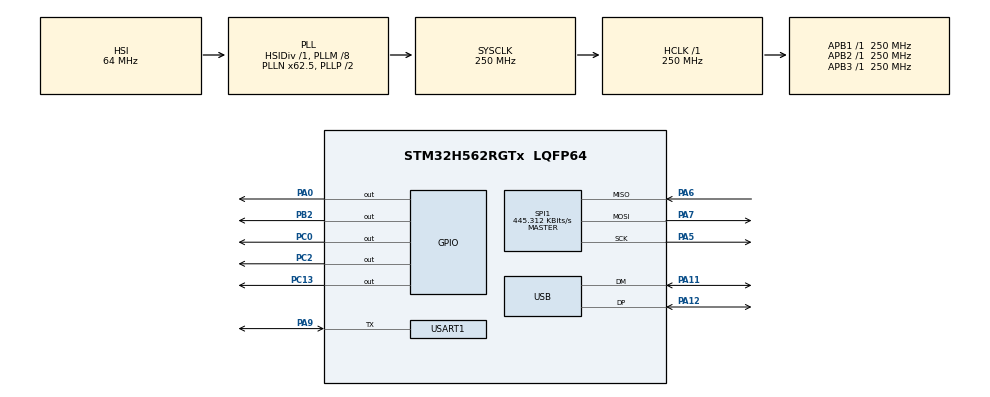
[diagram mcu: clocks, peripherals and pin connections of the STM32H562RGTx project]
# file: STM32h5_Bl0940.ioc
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BOOTPATH.BootPathName=LEGACY
BOOTPATH.UserSelectedBootPath=LEGACY
CORTEX_M33_NS.userName=CORTEX_M33
GPDMA1.LINKALLOCATEDPORT_GPDMACH4=DMA_LINK_ALLOCATED_PORT1
GPDMA1.LINKALLOCATEDPORT_GPDMACH5=DMA_LINK_ALLOCATED_PORT1
GPDMA1.PRIORITY_LL_GPDMACH4=DMA_LOW_PRIORITY_HIGH_WEIGHT
GPDMA1.PRIORITY_LL_GPDMACH5=DMA_LOW_PRIORITY_HIGH_WEIGHT
Linkedlist.MDMA_Channel0.GP_SW.0.BlkHWRequest=DMA_BREQ_SINGLE_BURST
Linkedlist.MDMA_Channel0.GP_SW.0.DATAEXCHANGEDESRCBYTE=NONE
Linkedlist.MDMA_Channel0.GP_SW.0.DATAEXCHANGEDESTBYTE=NONE
Linkedlist.MDMA_Channel0.GP_SW.0.DATAEXCHANGEDESTHALFWORD=NONE
Linkedlist.MDMA_Channel0.GP_SW.0.DataAlignment=DMA_DATA_RIGHTALIGN_ZEROPADDED
Linkedlist.MDMA_Channel0.GP_SW.0.DataHandling=ENABLE
Linkedlist.MDMA_Channel0.GP_SW.0.DataSize=0
Linkedlist.MDMA_Channel0.GP_SW.0.DestBurstLength=1
Linkedlist.MDMA_Channel0.GP_SW.0.DestDataWidth=DMA_DEST_DATAWIDTH_BYTE
Linkedlist.MDMA_Channel0.GP_SW.0.DestInc=DMA_DINC_FIXED
Linkedlist.MDMA_Channel0.GP_SW.0.Direction=DMA_MEMORY_TO_PERIPH
Linkedlist.MDMA_Channel0.GP_SW.0.DstAddress=0
Linkedlist.MDMA_Channel0.GP_SW.0.Instance=MDMA_Channel0
Linkedlist.MDMA_Channel0.GP_SW.0.LL_MASTERDMA=GPDMA1
Linkedlist.MDMA_Channel0.GP_SW.0.LL_NAME=Queue_tx
Linkedlist.MDMA_Channel0.GP_SW.0.LL_TYPE=LINEAR
Linkedlist.MDMA_Channel0.GP_SW.0.Mode=DMA_NORMAL
Linkedlist.MDMA_Channel0.GP_SW.0.NODE_NAME=Node_tx
Linkedlist.MDMA_Channel0.GP_SW.0.Requestforcodegen=GPDMA1_REQUEST_SPI1_TX
Linkedlist.MDMA_Channel0.GP_SW.0.SrcAddress=0
Linkedlist.MDMA_Channel0.GP_SW.0.SrcBurstLength=1
Linkedlist.MDMA_Channel0.GP_SW.0.SrcDataWidth=DMA_SRC_DATAWIDTH_BYTE
Linkedlist.MDMA_Channel0.GP_SW.0.SrcInc=DMA_SINC_INCREMENTED
Linkedlist.MDMA_Channel0.GP_SW.0.TransferAllocatedPortSrc=DMA_SRC_ALLOCATED_PORT1
Linkedlist.MDMA_Channel0.GP_SW.0.TransferEventMode=DMA_TCEM_BLOCK_TRANSFER
Linkedlist.MDMA_Channel0.GP_SW.0.TriggerPolarity=DMA_TRIG_POLARITY_MASKED
Linkedlist.MDMA_Channel0.Request0=GP_SW
Linkedlist.MDMA_Channel0.RequestsNb=1
Linkedlist.MDMA_Channel1.GP_SW.0.BlkHWRequest=DMA_BREQ_SINGLE_BURST
Linkedlist.MDMA_Channel1.GP_SW.0.DATAEXCHANGEDESRCBYTE=NONE
Linkedlist.MDMA_Channel1.GP_SW.0.DATAEXCHANGEDESTBYTE=NONE
Linkedlist.MDMA_Channel1.GP_SW.0.DATAEXCHANGEDESTHALFWORD=NONE
Linkedlist.MDMA_Channel1.GP_SW.0.DataAlignment=DMA_DATA_RIGHTALIGN_ZEROPADDED
Linkedlist.MDMA_Channel1.GP_SW.0.DataHandling=ENABLE
Linkedlist.MDMA_Channel1.GP_SW.0.DataSize=0
Linkedlist.MDMA_Channel1.GP_SW.0.DestBurstLength=1
Linkedlist.MDMA_Channel1.GP_SW.0.DestDataWidth=DMA_DEST_DATAWIDTH_BYTE
Linkedlist.MDMA_Channel1.GP_SW.0.DestInc=DMA_DINC_INCREMENTED
Linkedlist.MDMA_Channel1.GP_SW.0.Direction=DMA_PERIPH_TO_MEMORY
Linkedlist.MDMA_Channel1.GP_SW.0.DstAddress=0
Linkedlist.MDMA_Channel1.GP_SW.0.Instance=MDMA_Channel1
Linkedlist.MDMA_Channel1.GP_SW.0.LL_MASTERDMA=GPDMA1
Linkedlist.MDMA_Channel1.GP_SW.0.LL_NAME=Queue_rx
Linkedlist.MDMA_Channel1.GP_SW.0.LL_TYPE=LINEAR
Linkedlist.MDMA_Channel1.GP_SW.0.Mode=DMA_NORMAL
Linkedlist.MDMA_Channel1.GP_SW.0.NODE_NAME=Node_rx
Linkedlist.MDMA_Channel1.GP_SW.0.Requestforcodegen=GPDMA1_REQUEST_SPI1_RX
Linkedlist.MDMA_Channel1.GP_SW.0.SrcAddress=0
Linkedlist.MDMA_Channel1.GP_SW.0.SrcBurstLength=1
Linkedlist.MDMA_Channel1.GP_SW.0.SrcDataWidth=DMA_SRC_DATAWIDTH_BYTE
Linkedlist.MDMA_Channel1.GP_SW.0.SrcInc=DMA_SINC_FIXED
Linkedlist.MDMA_Channel1.GP_SW.0.TransferAllocatedPortSrc=DMA_SRC_ALLOCATED_PORT0
Linkedlist.MDMA_Channel1.GP_SW.0.TransferEventMode=DMA_TCEM_BLOCK_TRANSFER
Linkedlist.MDMA_Channel1.GP_SW.0.TriggerPolarity=DMA_TRIG_POLARITY_MASKED
Linkedlist.MDMA_Channel1.Request0=GP_SW
Linkedlist.MDMA_Channel1.RequestsNb=1
Linkedlist.RequestSet0=MDMA_Channel0
Linkedlist.RequestSet1=MDMA_Channel1
Linkedlist.RequestSetsNb=2
Mcu.Family=STM32H5
Mcu.Name=STM32H562RGTx
Mcu.Package=LQFP64
NVIC.GPDMA1_Channel4_IRQn=true\:0\:0\:false\:false\:true\:false\:true\:true\:true
NVIC.GPDMA1_Channel5_IRQn=true\:0\:0\:false\:false\:true\:false\:true\:true\:true
NVIC.PriorityGroup=NVIC_PRIORITYGROUP_4
NVIC.SPI1_IRQn=true\:0\:0\:false\:false\:true\:false\:true\:true\:true
NVIC.TIM1_UP_IRQn=true\:0\:0\:false\:false\:true\:false\:true\:true\:true
NVIC.TIM2_IRQn=true\:15\:0\:false\:false\:true\:false\:false\:true\:true
NVIC.TimeBase=TIM2_IRQn
NVIC.TimeBaseIP=TIM2
NVIC.USB_DRD_FS_IRQn=true\:0\:0\:false\:false\:true\:false\:true\:true\:true
PA0.Signal=GPIO_Output
PA11.Mode=Device
PA11.Signal=USB_DM
PA12.Mode=Device
PA12.Signal=USB_DP
PA5.Mode=Full_Duplex_Master
PA5.Signal=SPI1_SCK
PA6.Mode=Full_Duplex_Master
PA6.Signal=SPI1_MISO
PA7.Mode=Full_Duplex_Master
PA7.Signal=SPI1_MOSI
PA9.Mode=Half_duplex(single_wire_mode)
PA9.Signal=USART1_TX
PB2.Signal=GPIO_Output
PC0.Signal=GPIO_Output
PC13.Signal=GPIO_Output
PC14-OSC32_IN(OSC32_IN).Mode=LSE-External-Oscillator
PC14-OSC32_IN(OSC32_IN).Signal=RCC_OSC32_IN
PC15-OSC32_OUT(OSC32_OUT).Mode=LSE-External-Oscillator
PC15-OSC32_OUT(OSC32_OUT).Signal=RCC_OSC32_OUT
PC2.Signal=GPIO_Output
PH0-OSC_IN(PH0).Mode=HSE-DIG-External-Clock-Source
PH0-OSC_IN(PH0).Signal=RCC_OSC_IN
ProjectManager.HeapSize=0x800
ProjectManager.StackSize=0x800
ProjectManager.TargetToolchain=STM32CubeIDE
RCC.ADCFreq_Value=250000000
RCC.AHBFreq_Value=250000000
RCC.APB1Freq_Value=250000000
RCC.APB1TimFreq_Value=250000000
RCC.APB2Freq_Value=250000000
RCC.APB2TimFreq_Value=250000000
RCC.APB3Freq_Value=250000000
RCC.CKPERSourceSelection=RCC_CLKPSOURCE_HSE
RCC.CSI_VALUE=4000000
RCC.CortexFreq_Value=250000000
RCC.EPOD_VALUE=8000000
RCC.HCLKFreq_Value=250000000
RCC.HSE_VALUE=8000000
RCC.HSI48_VALUE=48000000
RCC.HSI_VALUE=64000000
RCC.LSIRC_VALUE=32000
RCC.PLL2FRACN=3072
RCC.PLL2N=21
RCC.PLL2P=3
RCC.PLL2Source=RCC_PLL2_SOURCE_HSE
RCC.PLL3Source=RCC_PLL3_SOURCE_HSE
RCC.PLLFRACN=4096
RCC.PLLN=62
RCC.PLLSourceVirtual=RCC_PLL1_SOURCE_HSE
RCC.RTCClockSelection=RCC_RTCCLKSOURCE_LSE
RCC.SPI1CLockSelection=RCC_SPI1CLKSOURCE_PLL2P
RCC.SYSCLKFreq_VALUE=250000000
RCC.SYSCLKSource=RCC_SYSCLKSOURCE_PLLCLK
RCC.USBFreq_Value=48000000
RCC.VCOOutputFreq_Value=500000000
RTC.Date=23
RTC.Hours=12
RTC.Minutes=14
RTC.Month=RTC_MONTH_JULY
SPI1.BaudRatePrescaler=SPI_BAUDRATEPRESCALER_128
SPI1.CLKPhase=SPI_PHASE_2EDGE
SPI1.CalculateBaudRate=445.312 KBits/s
SPI1.DataSize=SPI_DATASIZE_8BIT
SPI1.Direction=SPI_DIRECTION_2LINES
SPI1.Mode=SPI_MODE_MASTER
SPI1.VirtualType=VM_MASTER
STMicroelectronics.X-CUBE-AI.10.2.0.ActivationBufferSizeList=46552
STMicroelectronics.X-CUBE-AI.10.2.0.ActivationBuffers=pool0
STMicroelectronics.X-CUBE-AI.10.2.0.ActivationNames=pool0
STMicroelectronics.X-CUBE-AI.10.2.0.ActivationSizes=AI_NETWORK_DATA_ACTIVATION_1_SIZE
STMicroelectronics.X-CUBE-AI.10.2.0.ApplicationCcDeviceJjApplication=Validation
STMicroelectronics.X-CUBE-AI.10.2.0.HeapSize=0x800
STMicroelectronics.X-CUBE-AI.10.2.0.InternalRamActivationBufferMaxSize=AI_NETWORK_DATA_ACTIVATIONS_SIZE
STMicroelectronics.X-CUBE-AI.10.2.0.LatestDirectoryUsed-3102e91abf54e698ee64e30167e4e4b8705b4380b9673fabcb875895c781df02=C\:\\Users\\Acer\\Downloads
STMicroelectronics.X-CUBE-AI.10.2.0.MaximumNumberOfInputLayer=1
STMicroelectronics.X-CUBE-AI.10.2.0.MaximumNumberOfOutputLayer=1
STMicroelectronics.X-CUBE-AI.10.2.0.MaximumSizeOfInputLayer=1
STMicroelectronics.X-CUBE-AI.10.2.0.MaximumSizeOfOutputLayer=1
STMicroelectronics.X-CUBE-AI.10.2.0.ModelActualCompression-3102e91abf54e698ee64e30167e4e4b8705b4380b9673fabcb875895c781df02=0.0
STMicroelectronics.X-CUBE-AI.10.2.0.ModelCompression-3102e91abf54e698ee64e30167e4e4b8705b4380b9673fabcb875895c781df02=None
STMicroelectronics.X-CUBE-AI.10.2.0.ModelFlashOccupation-3102e91abf54e698ee64e30167e4e4b8705b4380b9673fabcb875895c781df02=277550
STMicroelectronics.X-CUBE-AI.10.2.0.ModelHashList=3102e91abf54e698ee64e30167e4e4b8705b4380b9673fabcb875895c781df02
STMicroelectronics.X-CUBE-AI.10.2.0.ModelKind-3102e91abf54e698ee64e30167e4e4b8705b4380b9673fabcb875895c781df02=TFLITE
STMicroelectronics.X-CUBE-AI.10.2.0.ModelMacc-3102e91abf54e698ee64e30167e4e4b8705b4380b9673fabcb875895c781df02=27574916
STMicroelectronics.X-CUBE-AI.10.2.0.ModelName-3102e91abf54e698ee64e30167e4e4b8705b4380b9673fabcb875895c781df02=network
STMicroelectronics.X-CUBE-AI.10.2.0.ModelNameList=network
STMicroelectronics.X-CUBE-AI.10.2.0.ModelRamOccupation-3102e91abf54e698ee64e30167e4e4b8705b4380b9673fabcb875895c781df02=46552
STMicroelectronics.X-CUBE-AI.10.2.0.ModelStructureFile-3102e91abf54e698ee64e30167e4e4b8705b4380b9673fabcb875895c781df02=C\:\\Users\\Acer\\Downloads\\optimizemoi_int8.tflite
STMicroelectronics.X-CUBE-AI.10.2.0.ModelType-3102e91abf54e698ee64e30167e4e4b8705b4380b9673fabcb875895c781df02=STM32Cube.AI MCU runtime
STMicroelectronics.X-CUBE-AI.10.2.0.ReadyForCodeGeneration=true
STMicroelectronics.X-CUBE-AI.10.2.0.StackSize=0x800
STMicroelectronics.X-CUBE-AI.10.2.0.WorkingBufferStartAddrList=0xFFFFFFFF
STMicroelectronics.X-CUBE-AI.10.2.0.XAaCUBEAaAICcArtificialOoIntelligenceJjCore=true
STMicroelectronics.X-CUBE-AI.10.2.0.copyWeightToRam=false
STMicroelectronics.X-CUBE-AI.10.2.0.copyWeightToRam-3102e91abf54e698ee64e30167e4e4b8705b4380b9673fabcb875895c781df02=false
STMicroelectronics.X-CUBE-AI.10.2.0.customLayerConfigEnabled=false
STMicroelectronics.X-CUBE-AI.10.2.0.customLayerConfigEnabled-3102e91abf54e698ee64e30167e4e4b8705b4380b9673fabcb875895c781df02=false
STMicroelectronics.X-CUBE-AI.10.2.0.noOnnxIoTranspose=false
STMicroelectronics.X-CUBE-AI.10.2.0.noOnnxIoTranspose-3102e91abf54e698ee64e30167e4e4b8705b4380b9673fabcb875895c781df02=false
STMicroelectronics.X-CUBE-AI.10.2.0.useInputAllocation=true
STMicroelectronics.X-CUBE-AI.10.2.0.useInputAllocation-3102e91abf54e698ee64e30167e4e4b8705b4380b9673fabcb875895c781df02=true
STMicroelectronics.X-CUBE-AI.10.2.0.useOutputAllocation=true
STMicroelectronics.X-CUBE-AI.10.2.0.useOutputAllocation-3102e91abf54e698ee64e30167e4e4b8705b4380b9673fabcb875895c781df02=true
TIM1.PeriodNoDither=999
TIM1.Prescaler=249
USART1.VirtualMode-Half_duplex(single_wire_mode)=VM_ASYNC
USB.VirtualMode=Device_Only
USBX.Core_System=1
USBX.USBD_CDCACM_EPIN_ADDR=2
USBX.USBD_CDCACM_EPOUT_ADDR=3
USBX.USBX_DEVICE_SYS_SIZE=10*1024
USBX.UX_DEVICE_APP_MEM_POOL_SIZE=15*1024
USBX.UX_DEVICE_CDC_ACM=1
USBX.UX_Device_Controller=1
USBX.UX_Device_CoreStack=1
VP_BOOTPATH_VS_BOOTPATH.Mode=BP_Activate
VP_CORTEX_M33_NS_VS_Hclk.Mode=Hclk_Mode
VP_GPDMA1_VS_GPDMACH4.Mode=LINKEDLIST_GPDMACH4
VP_GPDMA1_VS_GPDMACH5.Mode=LINKEDLIST_GPDMACH5
VP_ICACHE_VS_ICACHE.Mode=DirectMappedCache
VP_MEMORYMAP_VS_MEMORYMAP.Mode=CurAppReg
VP_PWR_VS_LPOM.Mode=PowerOptimisation
VP_PWR_VS_SECSignals.Mode=Security/Privilege
VP_RCC_USB.Mode=CRS SYNC Source USB
VP_RTC_VS_RTC_Activate.Mode=RTC_Enabled
VP_RTC_VS_RTC_Calendar.Mode=RTC_Calendar
VP_STMicroelectronics.X-CUBE-AI_VS_ArtificialOoIntelligenceJjXAaCUBEAaAI_10.2.0.Mode=ArtificialOoIntelligenceJjXAaCUBEAaAI
VP_STMicroelectronics.X-CUBE-AI_VS_DeviceJjApplication_10.2.0.Mode=DeviceJjApplication
VP_SYS_VS_tim2.Mode=TIM2
VP_THREADX_VS_RTOSJjThreadXJjCoreJjDefault.Mode=Core_Default
VP_TIM1_VS_ClockSourceINT.Mode=Internal
VP_USBX_Core_System.Mode=Core_System
VP_USBX_UX\ Device\ CDC\ ACM\ Class_FS.Mode=UX_Device_class_CDC_ACM_FS
VP_USBX_UX\ Device\ Controller_FS.Mode=UX_Device_Controller_FS
VP_USBX_UX\ Device\ CoreStack_FS.Mode=UX_Device_CoreStack_FS
board=custom

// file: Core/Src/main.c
/* USER CODE BEGIN Header */
/**
  ******************************************************************************
  * @file           : main.c
  * @brief          : Main program body
  ******************************************************************************
  * @attention
  *
  * Copyright (c) 2025 STMicroelectronics.
  * All rights reserved.
  *
  * This software is licensed under terms that can be found in the LICENSE file
  * in the root directory of this software component.
  * If no LICENSE file comes with this software, it is provided AS-IS.
  *
  ******************************************************************************
  */
/* USER CODE END Header */
#include "app_threadx.h"
#include "main.h"
#include "app_x-cube-ai.h"

/* USER CODE BEGIN Includes */
#include "linked_list.h"
#include "bl0940_driver.h"
#include <string.h>
#include <stdio.h>
#include <stdint.h>
/* USER CODE END Includes */

DMA_HandleTypeDef handle_GPDMA1_Channel5;
DMA_HandleTypeDef handle_GPDMA1_Channel4;

RTC_HandleTypeDef hrtc;

SPI_HandleTypeDef hspi1;

TIM_HandleTypeDef htim1;

UART_HandleTypeDef huart1;

PCD_HandleTypeDef hpcd_USB_DRD_FS;

void SystemClock_Config(void);
static void MX_GPIO_Init(void);
static void MX_GPDMA1_Init(void);
static void MX_SPI1_Init(void);
static void MX_USART1_UART_Init(void);
static void MX_ICACHE_Init(void);
static void MX_TIM1_Init(void);
static void MX_RTC_Init(void);

int main(void)
{

  /* MCU Configuration--------------------------------------------------------*/

  /* Reset of all peripherals, Initializes the Flash interface and the Systick. */
  HAL_Init();

  /* Configure the system clock */
  SystemClock_Config();

  /* Initialize all configured peripherals */
  MX_GPIO_Init();
  MX_GPDMA1_Init();
  MX_SPI1_Init();
  MX_USART1_UART_Init();
  MX_ICACHE_Init();
  MX_TIM1_Init();
  MX_RTC_Init();
  /* USER CODE BEGIN 2 */
  MX_Queue_tx_Config();
  HAL_DMAEx_List_LinkQ(&handle_GPDMA1_Channel5, &Queue_tx);
  __HAL_LINKDMA(&hspi1, hdmatx, handle_GPDMA1_Channel5);
  MX_Queue_rx_Config();
  HAL_DMAEx_List_LinkQ(&handle_GPDMA1_Channel4, &Queue_rx);
  __HAL_LINKDMA(&hspi1, hdmarx, handle_GPDMA1_Channel4);
  BL0940_Init();

//  int direction = BL0940_CheckSensorDirection();
//
//  while (direction == -1)
//  {
//      HAL_GPIO_TogglePin(GPIOB, GPIO_PIN_2);
//      HAL_Delay(2000);
//      direction = BL0940_CheckSensorDirection();
//  }
//  HAL_GPIO_WritePin(GPIOB, GPIO_PIN_2, GPIO_PIN_RESET);  // Tắt LED
  /* USER CODE END 2 */

  MX_ThreadX_Init();

  /* We should never get here as control is now taken by the scheduler */

  /* Infinite loop */
  while (1)
  {

  }
}

void SystemClock_Config(void)
{
  RCC_OscInitTypeDef RCC_OscInitStruct = {0};
  RCC_ClkInitTypeDef RCC_ClkInitStruct = {0};
  RCC_CRSInitTypeDef RCC_CRSInitStruct = {0};

  /** Configure the main internal regulator output voltage
  */
  __HAL_PWR_VOLTAGESCALING_CONFIG(PWR_REGULATOR_VOLTAGE_SCALE0);

  while(!__HAL_PWR_GET_FLAG(PWR_FLAG_VOSRDY)) {}

  /** Initializes the RCC Oscillators according to the specified parameters
  * in the RCC_OscInitTypeDef structure.
  */
  RCC_OscInitStruct.OscillatorType = RCC_OSCILLATORTYPE_HSI|RCC_OSCILLATORTYPE_HSI48
                              |RCC_OSCILLATORTYPE_LSI;
  RCC_OscInitStruct.HSIState = RCC_HSI_ON;
  RCC_OscInitStruct.HSIDiv = RCC_HSI_DIV1;
  RCC_OscInitStruct.HSICalibrationValue = RCC_HSICALIBRATION_DEFAULT;
  RCC_OscInitStruct.LSIState = RCC_LSI_ON;
  RCC_OscInitStruct.HSI48State = RCC_HSI48_ON;
  RCC_OscInitStruct.PLL.PLLState = RCC_PLL_ON;
  RCC_OscInitStruct.PLL.PLLSource = RCC_PLL1_SOURCE_HSI;
  RCC_OscInitStruct.PLL.PLLM = 8;
  RCC_OscInitStruct.PLL.PLLN = 62;
  RCC_OscInitStruct.PLL.PLLP = 2;
  RCC_OscInitStruct.PLL.PLLQ = 2;
  RCC_OscInitStruct.PLL.PLLR = 2;
  RCC_OscInitStruct.PLL.PLLRGE = RCC_PLL1_VCIRANGE_3;
  RCC_OscInitStruct.PLL.PLLVCOSEL = RCC_PLL1_VCORANGE_WIDE;
  RCC_OscInitStruct.PLL.PLLFRACN = 4096;
  if (HAL_RCC_OscConfig(&RCC_OscInitStruct) != HAL_OK)
  {
    Error_Handler();
  }

  /** Initializes the CPU, AHB and APB buses clocks
  */
  RCC_ClkInitStruct.ClockType = RCC_CLOCKTYPE_HCLK|RCC_CLOCKTYPE_SYSCLK
                              |RCC_CLOCKTYPE_PCLK1|RCC_CLOCKTYPE_PCLK2
                              |RCC_CLOCKTYPE_PCLK3;
  RCC_ClkInitStruct.SYSCLKSource = RCC_SYSCLKSOURCE_PLLCLK;
  RCC_ClkInitStruct.AHBCLKDivider = RCC_SYSCLK_DIV1;
  RCC_ClkInitStruct.APB1CLKDivider = RCC_HCLK_DIV1;
  RCC_ClkInitStruct.APB2CLKDivider = RCC_HCLK_DIV1;
  RCC_ClkInitStruct.APB3CLKDivider = RCC_HCLK_DIV1;

  if (HAL_RCC_ClockConfig(&RCC_ClkInitStruct, FLASH_LATENCY_5) != HAL_OK)
  {
    Error_Handler();
  }

  /** Enable the CRS APB clock
  */
  __HAL_RCC_CRS_CLK_ENABLE();

  /** Configures CRS
  */
  RCC_CRSInitStruct.Prescaler = RCC_CRS_SYNC_DIV1;
  RCC_CRSInitStruct.Source = RCC_CRS_SYNC_SOURCE_USB;
  RCC_CRSInitStruct.Polarity = RCC_CRS_SYNC_POLARITY_RISING;
  RCC_CRSInitStruct.ReloadValue = __HAL_RCC_CRS_RELOADVALUE_CALCULATE(48000000,1000);
  RCC_CRSInitStruct.ErrorLimitValue = 34;
  RCC_CRSInitStruct.HSI48CalibrationValue = 32;

  HAL_RCCEx_CRSConfig(&RCC_CRSInitStruct);

  /** Configure the programming delay
  */
  __HAL_FLASH_SET_PROGRAM_DELAY(FLASH_PROGRAMMING_DELAY_2);
}

static void MX_GPDMA1_Init(void)
{

  /* Peripheral clock enable */
  __HAL_RCC_GPDMA1_CLK_ENABLE();

  /* GPDMA1 interrupt Init */
    HAL_NVIC_SetPriority(GPDMA1_Channel4_IRQn, 0, 0);
    HAL_NVIC_EnableIRQ(GPDMA1_Channel4_IRQn);
    HAL_NVIC_SetPriority(GPDMA1_Channel5_IRQn, 0, 0);
    HAL_NVIC_EnableIRQ(GPDMA1_Channel5_IRQn);

  handle_GPDMA1_Channel5.Instance = GPDMA1_Channel5;
  handle_GPDMA1_Channel5.InitLinkedList.Priority = DMA_LOW_PRIORITY_HIGH_WEIGHT;
  handle_GPDMA1_Channel5.InitLinkedList.LinkStepMode = DMA_LSM_FULL_EXECUTION;
  handle_GPDMA1_Channel5.InitLinkedList.LinkAllocatedPort = DMA_LINK_ALLOCATED_PORT1;
  handle_GPDMA1_Channel5.InitLinkedList.TransferEventMode = DMA_TCEM_LAST_LL_ITEM_TRANSFER;
  handle_GPDMA1_Channel5.InitLinkedList.LinkedListMode = DMA_LINKEDLIST_NORMAL;
  if (HAL_DMAEx_List_Init(&handle_GPDMA1_Channel5) != HAL_OK)
  {
    Error_Handler();
  }
  if (HAL_DMA_ConfigChannelAttributes(&handle_GPDMA1_Channel5, DMA_CHANNEL_NPRIV) != HAL_OK)
  {
    Error_Handler();
  }
  handle_GPDMA1_Channel4.Instance = GPDMA1_Channel4;
  handle_GPDMA1_Channel4.InitLinkedList.Priority = DMA_LOW_PRIORITY_HIGH_WEIGHT;
  handle_GPDMA1_Channel4.InitLinkedList.LinkStepMode = DMA_LSM_FULL_EXECUTION;
  handle_GPDMA1_Channel4.InitLinkedList.LinkAllocatedPort = DMA_LINK_ALLOCATED_PORT1;
  handle_GPDMA1_Channel4.InitLinkedList.TransferEventMode = DMA_TCEM_LAST_LL_ITEM_TRANSFER;
  handle_GPDMA1_Channel4.InitLinkedList.LinkedListMode = DMA_LINKEDLIST_NORMAL;
  if (HAL_DMAEx_List_Init(&handle_GPDMA1_Channel4) != HAL_OK)
  {
    Error_Handler();
  }
  if (HAL_DMA_ConfigChannelAttributes(&handle_GPDMA1_Channel4, DMA_CHANNEL_NPRIV) != HAL_OK)
  {
    Error_Handler();
  }

}

static void MX_ICACHE_Init(void)
{

  /** Enable instruction cache in 1-way (direct mapped cache)
  */
  if (HAL_ICACHE_ConfigAssociativityMode(ICACHE_1WAY) != HAL_OK)
  {
    Error_Handler();
  }
  if (HAL_ICACHE_Enable() != HAL_OK)
  {
    Error_Handler();
  }

}

static void MX_RTC_Init(void)
{

  RTC_PrivilegeStateTypeDef privilegeState = {0};
  RTC_TimeTypeDef sTime = {0};
  RTC_DateTypeDef sDate = {0};

  /** Initialize RTC Only
  */
  hrtc.Instance = RTC;
  hrtc.Init.HourFormat = RTC_HOURFORMAT_24;
  hrtc.Init.AsynchPrediv = 127;
  hrtc.Init.SynchPrediv = 255;
  hrtc.Init.OutPut = RTC_OUTPUT_DISABLE;
  hrtc.Init.OutPutRemap = RTC_OUTPUT_REMAP_NONE;
  hrtc.Init.OutPutPolarity = RTC_OUTPUT_POLARITY_HIGH;
  hrtc.Init.OutPutType = RTC_OUTPUT_TYPE_OPENDRAIN;
  hrtc.Init.OutPutPullUp = RTC_OUTPUT_PULLUP_NONE;
  hrtc.Init.BinMode = RTC_BINARY_NONE;
  if (HAL_RTC_Init(&hrtc) != HAL_OK)
  {
    Error_Handler();
  }
  privilegeState.rtcPrivilegeFull = RTC_PRIVILEGE_FULL_NO;
  privilegeState.backupRegisterPrivZone = RTC_PRIVILEGE_BKUP_ZONE_NONE;
  privilegeState.backupRegisterStartZone2 = RTC_BKP_DR0;
  privilegeState.backupRegisterStartZone3 = RTC_BKP_DR0;
  if (HAL_RTCEx_PrivilegeModeSet(&hrtc, &privilegeState) != HAL_OK)
  {
    Error_Handler();
  }

  /** Initialize RTC and set the Time and Date
  */
  sTime.Hours = 0x12;
  sTime.Minutes = 0x14;
  sTime.Seconds = 0x0;
  sTime.DayLightSaving = RTC_DAYLIGHTSAVING_NONE;
  sTime.StoreOperation = RTC_STOREOPERATION_RESET;
  if (HAL_RTC_SetTime(&hrtc, &sTime, RTC_FORMAT_BCD) != HAL_OK)
  {
    Error_Handler();
  }
  sDate.WeekDay = RTC_WEEKDAY_MONDAY;
  sDate.Month = RTC_MONTH_JULY;
  sDate.Date = 0x23;
  sDate.Year = 0x0;

  if (HAL_RTC_SetDate(&hrtc, &sDate, RTC_FORMAT_BCD) != HAL_OK)
  {
    Error_Handler();
  }
  /* USER CODE BEGIN RTC_Init 2 */
  if (HAL_RTCEx_BKUPRead(&hrtc, RTC_BKP_DR0) != 0x32F2)
  {
      // 👉 Chỉ set thời gian khi chưa khởi tạo
      sTime.Hours = 0x16;
      sTime.Minutes = 0x05;
      sTime.Seconds = 0x00;
      sTime.DayLightSaving = RTC_DAYLIGHTSAVING_NONE;
      sTime.StoreOperation = RTC_STOREOPERATION_SET;

      if (HAL_RTC_SetTime(&hrtc, &sTime, RTC_FORMAT_BCD) != HAL_OK)
      {
          Error_Handler();
      }

      sDate.WeekDay = RTC_WEEKDAY_MONDAY;
      sDate.Month = RTC_MONTH_JULY;
      sDate.Date = 0x21;
      sDate.Year = 0x25;

      if (HAL_RTC_SetDate(&hrtc, &sDate, RTC_FORMAT_BCD) != HAL_OK)
      {
          Error_Handler();
      }

      // 🔒 Đánh dấu đã khởi tạo
      HAL_RTCEx_BKUPWrite(&hrtc, RTC_BKP_DR0, 0x32F2);
  }
  /* USER CODE END RTC_Init 2 */

}

static void MX_SPI1_Init(void)
{

  /* SPI1 parameter configuration*/
  hspi1.Instance = SPI1;
  hspi1.Init.Mode = SPI_MODE_MASTER;
  hspi1.Init.Direction = SPI_DIRECTION_2LINES;
  hspi1.Init.DataSize = SPI_DATASIZE_8BIT;
  hspi1.Init.CLKPolarity = SPI_POLARITY_LOW;
  hspi1.Init.CLKPhase = SPI_PHASE_2EDGE;
  hspi1.Init.NSS = SPI_NSS_SOFT;
  hspi1.Init.BaudRatePrescaler = SPI_BAUDRATEPRESCALER_128;
  hspi1.Init.FirstBit = SPI_FIRSTBIT_MSB;
  hspi1.Init.TIMode = SPI_TIMODE_DISABLE;
  hspi1.Init.CRCCalculation = SPI_CRCCALCULATION_DISABLE;
  hspi1.Init.CRCPolynomial = 0x7;
  hspi1.Init.NSSPMode = SPI_NSS_PULSE_DISABLE;
  hspi1.Init.NSSPolarity = SPI_NSS_POLARITY_LOW;
  hspi1.Init.FifoThreshold = SPI_FIFO_THRESHOLD_01DATA;
  hspi1.Init.MasterSSIdleness = SPI_MASTER_SS_IDLENESS_00CYCLE;
  hspi1.Init.MasterInterDataIdleness = SPI_MASTER_INTERDATA_IDLENESS_00CYCLE;
  hspi1.Init.MasterReceiverAutoSusp = SPI_MASTER_RX_AUTOSUSP_DISABLE;
  hspi1.Init.MasterKeepIOState = SPI_MASTER_KEEP_IO_STATE_DISABLE;
  hspi1.Init.IOSwap = SPI_IO_SWAP_DISABLE;
  hspi1.Init.ReadyMasterManagement = SPI_RDY_MASTER_MANAGEMENT_INTERNALLY;
  hspi1.Init.ReadyPolarity = SPI_RDY_POLARITY_HIGH;
  if (HAL_SPI_Init(&hspi1) != HAL_OK)
  {
    Error_Handler();
  }

}

static void MX_TIM1_Init(void)
{

  TIM_ClockConfigTypeDef sClockSourceConfig = {0};
  TIM_MasterConfigTypeDef sMasterConfig = {0};

  htim1.Instance = TIM1;
  htim1.Init.Prescaler = 249;
  htim1.Init.CounterMode = TIM_COUNTERMODE_UP;
  htim1.Init.Period = 999;
  htim1.Init.ClockDivision = TIM_CLOCKDIVISION_DIV1;
  htim1.Init.RepetitionCounter = 0;
  htim1.Init.AutoReloadPreload = TIM_AUTORELOAD_PRELOAD_DISABLE;
  if (HAL_TIM_Base_Init(&htim1) != HAL_OK)
  {
    Error_Handler();
  }
  sClockSourceConfig.ClockSource = TIM_CLOCKSOURCE_INTERNAL;
  if (HAL_TIM_ConfigClockSource(&htim1, &sClockSourceConfig) != HAL_OK)
  {
    Error_Handler();
  }
  sMasterConfig.MasterOutputTrigger = TIM_TRGO_RESET;
  sMasterConfig.MasterOutputTrigger2 = TIM_TRGO2_RESET;
  sMasterConfig.MasterSlaveMode = TIM_MASTERSLAVEMODE_DISABLE;
  if (HAL_TIMEx_MasterConfigSynchronization(&htim1, &sMasterConfig) != HAL_OK)
  {
    Error_Handler();
  }

}

static void MX_USART1_UART_Init(void)
{

  huart1.Instance = USART1;
  huart1.Init.BaudRate = 115200;
  huart1.Init.WordLength = UART_WORDLENGTH_8B;
  huart1.Init.StopBits = UART_STOPBITS_1;
  huart1.Init.Parity = UART_PARITY_NONE;
  huart1.Init.Mode = UART_MODE_TX_RX;
  huart1.Init.HwFlowCtl = UART_HWCONTROL_NONE;
  huart1.Init.OverSampling = UART_OVERSAMPLING_16;
  huart1.Init.OneBitSampling = UART_ONE_BIT_SAMPLE_DISABLE;
  huart1.Init.ClockPrescaler = UART_PRESCALER_DIV1;
  huart1.AdvancedInit.AdvFeatureInit = UART_ADVFEATURE_NO_INIT;
  if (HAL_HalfDuplex_Init(&huart1) != HAL_OK)
  {
    Error_Handler();
  }
  if (HAL_UARTEx_SetTxFifoThreshold(&huart1, UART_TXFIFO_THRESHOLD_1_8) != HAL_OK)
  {
    Error_Handler();
  }
  if (HAL_UARTEx_SetRxFifoThreshold(&huart1, UART_RXFIFO_THRESHOLD_1_8) != HAL_OK)
  {
    Error_Handler();
  }
  if (HAL_UARTEx_DisableFifoMode(&huart1) != HAL_OK)
  {
    Error_Handler();
  }

}

void MX_USB_PCD_Init(void)
{

  hpcd_USB_DRD_FS.Instance = USB_DRD_FS;
  hpcd_USB_DRD_FS.Init.dev_endpoints = 8;
  hpcd_USB_DRD_FS.Init.speed = USBD_FS_SPEED;
  hpcd_USB_DRD_FS.Init.phy_itface = PCD_PHY_EMBEDDED;
  hpcd_USB_DRD_FS.Init.Sof_enable = DISABLE;
  hpcd_USB_DRD_FS.Init.low_power_enable = DISABLE;
  hpcd_USB_DRD_FS.Init.lpm_enable = DISABLE;
  hpcd_USB_DRD_FS.Init.battery_charging_enable = DISABLE;
  hpcd_USB_DRD_FS.Init.vbus_sensing_enable = DISABLE;
  hpcd_USB_DRD_FS.Init.bulk_doublebuffer_enable = DISABLE;
  hpcd_USB_DRD_FS.Init.iso_singlebuffer_enable = DISABLE;
  if (HAL_PCD_Init(&hpcd_USB_DRD_FS) != HAL_OK)
  {
    Error_Handler();
  }

}

static void MX_GPIO_Init(void)
{
  GPIO_InitTypeDef GPIO_InitStruct = {0};

  /* GPIO Ports Clock Enable */
  __HAL_RCC_GPIOC_CLK_ENABLE();
  __HAL_RCC_GPIOH_CLK_ENABLE();
  __HAL_RCC_GPIOA_CLK_ENABLE();
  __HAL_RCC_GPIOB_CLK_ENABLE();

  /*Configure GPIO pin Output Level */
  HAL_GPIO_WritePin(GPIOC, GPIO_PIN_13|GPIO_PIN_0|GPIO_PIN_2, GPIO_PIN_RESET);

  /*Configure GPIO pin Output Level */
  HAL_GPIO_WritePin(GPIOA, GPIO_PIN_0, GPIO_PIN_RESET);

  /*Configure GPIO pin Output Level */
  HAL_GPIO_WritePin(GPIOB, GPIO_PIN_2, GPIO_PIN_RESET);

  /*Configure GPIO pins : PC13 PC0 PC2 */
  GPIO_InitStruct.Pin = GPIO_PIN_13|GPIO_PIN_0|GPIO_PIN_2;
  GPIO_InitStruct.Mode = GPIO_MODE_OUTPUT_PP;
  GPIO_InitStruct.Pull = GPIO_NOPULL;
  GPIO_InitStruct.Speed = GPIO_SPEED_FREQ_LOW;
  HAL_GPIO_Init(GPIOC, &GPIO_InitStruct);

  /*Configure GPIO pin : PA0 */
  GPIO_InitStruct.Pin = GPIO_PIN_0;
  GPIO_InitStruct.Mode = GPIO_MODE_OUTPUT_PP;
  GPIO_InitStruct.Pull = GPIO_NOPULL;
  GPIO_InitStruct.Speed = GPIO_SPEED_FREQ_LOW;
  HAL_GPIO_Init(GPIOA, &GPIO_InitStruct);

  /*Configure GPIO pin : PB2 */
  GPIO_InitStruct.Pin = GPIO_PIN_2;
  GPIO_InitStruct.Mode = GPIO_MODE_OUTPUT_PP;
  GPIO_InitStruct.Pull = GPIO_NOPULL;
  GPIO_InitStruct.Speed = GPIO_SPEED_FREQ_LOW;
  HAL_GPIO_Init(GPIOB, &GPIO_InitStruct);

  /* USER CODE BEGIN MX_GPIO_Init_2 */
  HAL_GPIO_WritePin(GPIOC, GPIO_PIN_0, GPIO_PIN_RESET); /* đỏ OFF khi boot */
  HAL_GPIO_WritePin(GPIOA, GPIO_PIN_0, GPIO_PIN_RESET); /* vàng ON khi boot */
  /* USER CODE END MX_GPIO_Init_2 */
}

/* HAL_TIM_PeriodElapsedCallback defined in bl0940_driver.c */

void Error_Handler(void)
{
  /* USER CODE BEGIN Error_Handler_Debug */
  while (1)
  {
    HAL_GPIO_TogglePin(GPIOB, GPIO_PIN_2);
    for (volatile uint32_t i = 0; i < 500000u; i++) { __NOP(); }
  }
  /* USER CODE END Error_Handler_Debug */
}
